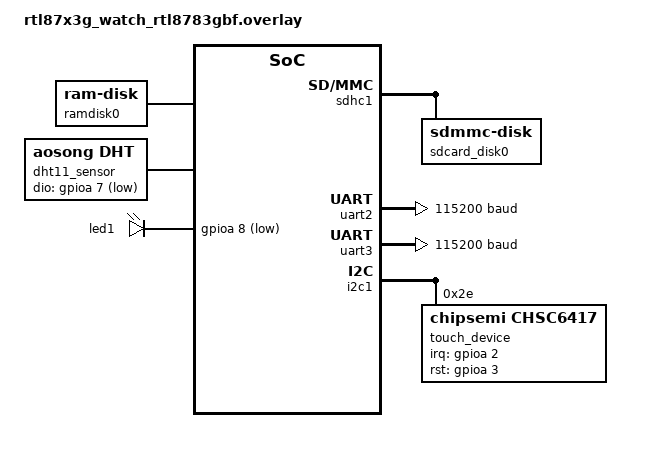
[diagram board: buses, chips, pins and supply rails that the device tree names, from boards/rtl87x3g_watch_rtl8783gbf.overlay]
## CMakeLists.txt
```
# SPDX-License-Identifier: Apache-2.0
cmake_minimum_required(VERSION 3.20.0)

# Keep the same Realtek post-build flow used by the other RTL87X3G apps.
include(${CMAKE_CURRENT_SOURCE_DIR}/../../../../cmake/post_build.cmake)
rtk_post_build()

find_package(Zephyr REQUIRED HINTS $ENV{ZEPHYR_BASE})
project(rustmcuclaw_mcu)

set(APP_TARGET_NAME app)

configure_file(${CMAKE_CURRENT_SOURCE_DIR}/mp.ini ${CMAKE_BINARY_DIR}/../mp.ini COPYONLY)
configure_file(${CMAKE_CURRENT_SOURCE_DIR}/VERSION ${CMAKE_BINARY_DIR}/../VERSION COPYONLY)

zephyr_include_directories(
    include
    ${CMAKE_CURRENT_SOURCE_DIR}/../../../watch/src/module/clk
    ${CMAKE_CURRENT_SOURCE_DIR}/../../../../../modules/display/device/general/lcd/8773G
    ${CMAKE_CURRENT_SOURCE_DIR}/../../../../../modules/display/device/zephyr/touch/8773G
)
target_sources(app PRIVATE
    src/main.c
    src/psram_init.c
    src/ws2812_strip.c
    ${CMAKE_CURRENT_SOURCE_DIR}/../../../watch/src/module/clk/clk_mgr.c
)

target_link_libraries(app PRIVATE realtek_display_driver_library)

find_program(CARGO_EXECUTABLE cargo)
if(NOT CARGO_EXECUTABLE)
    message(FATAL_ERROR "cargo not found in PATH. Install Rust and run: rustup target add thumbv8m.main-none-eabihf")
endif()

set(RUST_WORKSPACE_DIR ${CMAKE_CURRENT_SOURCE_DIR}/..)
set(RUST_CRATE_DIR ${RUST_WORKSPACE_DIR}/crates/rustmcuclaw-mcu)
set(RUST_TARGET thumbv8m.main-none-eabihf)
set(RUST_TARGET_DIR ${CMAKE_CURRENT_BINARY_DIR}/cargo-target)
set(RUST_STATIC_LIB ${RUST_TARGET_DIR}/${RUST_TARGET}/release/librustmcuclaw_mcu.a)

string(TOUPPER "${RUST_TARGET}" RUST_TARGET_ENV)
string(REPLACE "-" "_" RUST_TARGET_ENV "${RUST_TARGET_ENV}")
string(REPLACE "." "_" RUST_TARGET_ENV "${RUST_TARGET_ENV}")

# Re-glob every Rust source under crates/ so a change in any workspace member
# (rustmcuclaw-mcu, rustmcuclaw-common, future crates) re-triggers cargo. The
# previous version only listed rustmcuclaw-mcu/src/lib.rs which silently
# skipped relinking when only common-crate prompts/constants had changed.
file(GLOB_RECURSE RUST_SOURCES CONFIGURE_DEPENDS
    ${RUST_WORKSPACE_DIR}/crates/*.rs
    ${RUST_WORKSPACE_DIR}/crates/*/Cargo.toml
)

add_custom_command(
    OUTPUT ${RUST_STATIC_LIB}
    COMMAND ${CMAKE_COMMAND} -E env
            CARGO_TARGET_DIR=${RUST_TARGET_DIR}
            CARGO_TARGET_${RUST_TARGET_ENV}_LINKER=${CMAKE_C_COMPILER}
            RUSTFLAGS=-Cpanic=abort\ -Cforce-unwind-tables=no
            ${CARGO_EXECUTABLE}
            build
            --manifest-path ${RUST_CRATE_DIR}/Cargo.toml
            --target ${RUST_TARGET}
            --release
    WORKING_DIRECTORY ${RUST_WORKSPACE_DIR}
    DEPENDS
        ${RUST_WORKSPACE_DIR}/Cargo.toml
        ${RUST_SOURCES}
    COMMENT "Building RustMcuClaw MCU Rust static library"
    VERBATIM
)

add_custom_target(rustmcuclaw_mcu_staticlib ALL DEPENDS ${RUST_STATIC_LIB})
add_dependencies(app rustmcuclaw_mcu_staticlib)
target_link_libraries(app PRIVATE ${RUST_STATIC_LIB})

zephyr_compile_options(
    -Wno-unused-parameter
)

# ADMA2 descriptors and DMA data buffers must be in DMA-accessible SRAM.
# The default BSS placement is DTCM (0x2000B800) which is not reachable by
# the SDIO DMA engine.  Force both translation units into SRAM2.
zephyr_code_relocate(FILES
    ${ZEPHYR_BASE}/drivers/sdhc/sdhc_rtl87x3g.c
    LOCATION SRAM)
zephyr_code_relocate(FILES
    ${ZEPHYR_BASE}/drivers/disk/sdmmc_subsys.c
    LOCATION SRAM)
```

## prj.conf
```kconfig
# RustMcuClaw MCU: serial CLI + PSRAM FATFS JSON/TOML/Markdown files.
CONFIG_MAIN_STACK_SIZE=8192
CONFIG_SYSTEM_WORKQUEUE_STACK_SIZE=4096

CONFIG_MULTITHREADING=y
CONFIG_POLL=y

CONFIG_SERIAL=y
CONFIG_UART_INTERRUPT_DRIVEN=y

CONFIG_DISPLAY=y
CONFIG_REALTEK_DISPLAY=y
CONFIG_REALTEK_DISPLAY_ENABLE_LCDC=y
CONFIG_REALTEK_DISPLAY_ENABLE_PPE=y
CONFIG_REALTEK_DISPLAY_ENABLE_IDU=n
CONFIG_REALTEK_LCD_SH8601Z_410_502_QSPI=y
CONFIG_GPIO=y
CONFIG_I2C=y
CONFIG_DMA=y

# Touch screen (CHSC6417 on I2C1, interrupt-driven via GPIO)
CONFIG_REALTEK_TOUCH_CHSC6417_ZEPHYR=y

CONFIG_FILE_SYSTEM=y
CONFIG_FAT_FILESYSTEM_ELM=y
CONFIG_DISK_ACCESS=y
CONFIG_DISK_DRIVER_RAM=y
CONFIG_SDHC=y
CONFIG_DISK_DRIVER_SDMMC=y
CONFIG_SDHC_LOG_LEVEL_DBG=y
CONFIG_SD_LOG_LEVEL_DBG=y
CONFIG_FS_FATFS_MOUNT_MKFS=y
CONFIG_FS_FATFS_LFN=y
CONFIG_FS_FATFS_MAX_LFN=64

CONFIG_NEWLIB_LIBC=y
CONFIG_PRINTK=y
CONFIG_LOG=y
CONFIG_LOG_DEFAULT_LEVEL=3

# The cloud transport is provided by the Z2Plus/RTL8710C firmware side.
# Board integration should provide/override claw_mcu_https_post_json() if the
# firmware exposes a different HTTPS primitive.
CONFIG_NET_BUF=y

# DHT11 temperature/humidity sensor (Zephyr official aosong,dht driver)
CONFIG_SENSOR=y
CONFIG_DHT=y
# Lock IRQs while reading the sensor to improve the success rate of 1-wire timing sampling
CONFIG_DHT_LOCK_IRQS=y
```

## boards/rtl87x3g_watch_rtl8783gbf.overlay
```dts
/*
 * RustMcuClaw MCU overlay for RTL8783GBF EVB.
 * Uses UART2 as the serial CLI port so UART3 remains available for watch-style
 * Wi-Fi/Z2Plus transport, and reserves 1 MiB of PSRAM1 for FATFS.
 */

#include <zephyr/dt-bindings/gpio/realtek-rtl87x3g-gpio.h>
#include <dt-bindings/pinctrl/rtl87x3g-pinctrl.h>
#include <dt-bindings/gpio/gpio.h>

&gpioa {
	status = "okay";
};

&sdhc1 {
	status = "okay";

	sdcard_disk0: sdcard_disk0 {
		compatible = "zephyr,sdmmc-disk";
		status = "okay";
	};
};


&uart2 {
	status = "okay";
	current-speed = <115200>;
	parity = "none";
	stop-bits = "1";
	data-bits = <8>;
};

&uart3 {
	pinctrl-0 = <&uart3_default>;
	pinctrl-1 = <&uart3_sleep>;
	pinctrl-names = "default", "sleep";
	status = "okay";
	current-speed = <115200>;
	parity = "none";
	stop-bits = "1";
	data-bits = <8>;
	dmas = <&dma0 2 49 0xa>, <&dma0 3 48 0x10021>;
	dma-names = "rx", "tx";
};

&pinctrl {
	uart3_default: uart3_default {
		group1 {
			psels = <RTL87X3G_PSEL(UART3_TX, UART3_TX_PIN, DIR_OUT, DRV_HIGH, PULL_UP)>,
				<RTL87X3G_PSEL(UART3_RX, UART3_RX_PIN, DIR_IN, DRV_HIGH, PULL_UP)>,
				<RTL87X3G_PSEL(SW_MODE, UART3_MP_TX_PIN, DIR_OUT, DRV_HIGH, PULL_UP)>,
				<RTL87X3G_PSEL(SW_MODE, UART3_MP_RX_PIN, DIR_IN, DRV_HIGH, PULL_UP)>;
		};
	};

	uart3_sleep: uart3_sleep {
		group1 {
			psels = <RTL87X3G_PSEL(SW_MODE, UART3_TX_PIN, DIR_OUT, DRV_HIGH, PULL_UP)>,
				<RTL87X3G_PSEL(SW_MODE, UART3_MP_TX_PIN, DIR_OUT, DRV_HIGH, PULL_UP)>;
		};
		group2 {
			psels = <RTL87X3G_PSEL(SW_MODE, UART3_RX_PIN, DIR_IN, DRV_HIGH, PULL_UP)>,
				<RTL87X3G_PSEL(SW_MODE, UART3_MP_RX_PIN, DIR_IN, DRV_HIGH, PULL_UP)>;
			wakeup-low;
		};
	};
};

/ {
	ramdisk0 {
		compatible = "zephyr,ram-disk";
		status = "okay";
		disk-name = "RAM";
		sector-size = <512>;
		sector-count = <2048>; /* 1 MiB */
		ram-region = <&psram1_for_fs>;
	};

	aliases {
		uart2 = &uart2;
		uart3 = &uart3;
		sdhc0 = &sdhc0;
	};
};

&psram1 {
	psram1_for_fs: memory@24000000 {
		device_type = "psram 1 fs region";
		reg = <0x24000000 0x100000>;
	};
};

/* Touch screen: CHSC6417 on I2C1 bus.
 * P0_2 (gpioa 2) = INT,  P0_3 (gpioa 3) = RST */
&i2c1 {
	touch_device: touch_chsc6417@2e {
		compatible = "chipsemi,chsc6417";
		reg = <0x2E>;
		irq-gpios = <&gpioa 2 GPIO_ACTIVE_HIGH>;
		rst-gpios = <&gpioa 3 GPIO_ACTIVE_HIGH>;
		gesture-release-timeout-ms = <30>;
		status = "okay";
	};
};

/* DHT11 温湿度传感器
 * DATA → P1_0 (gpioa 7)
 * VCC  → 3.3 V
 * GND  → GND
 * 模块板上已内置 10 kΩ 上拉电阻 */
/ {
	dht11_sensor: dht11 {
		compatible = "aosong,dht";
		/* dio-gpios: P1_0 = gpioa 7；GPIO_PULL_UP 启用内部上拉兜底 */
		dio-gpios = <&gpioa 7 (GPIO_ACTIVE_LOW | GPIO_PULL_UP)>;
		/* 不写 dht22 属性 → 驱动认定为 DHT11 */
		status = "okay";
	};

	/* Board-direct LEDs driven by GPIO. The Rust agent exposes them by
	 * label: "led1" = 一号灯 (P1_1, gpioa 8).
	 *
	 * P2_1 is now dedicated to the WS2812B RGB strip, so only led1 remains
	 * as a board-direct GPIO LED.
	 *
	 * Polarity is absorbed by Zephyr's GPIO_ACTIVE_* flags so higher layers
	 * can keep using on=1 / off=0 without caring about the board wiring:
	 *   - led1 (P1_1): cathode tied to GPIO, anode to VCC -> ACTIVE_LOW */
	claw_leds: claw-leds {
		compatible = "gpio-leds";
		led1: led_1 {
			gpios = <&gpioa 8 GPIO_ACTIVE_LOW>;
			label = "led1";
		};
	};

	/* WS2812B addressable RGB LED strip (30 LEDs) on P2_1 (gpioa 16).
	 * Driven by software bit-banging from src/ws2812_strip.c — there is no
	 * DT node for it because we do raw register writes that bypass the
	 * Zephyr GPIO driver during the timing-critical transmission window. */
};
```

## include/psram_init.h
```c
#ifndef PSRAM_INIT_H
#define PSRAM_INIT_H

#ifdef __cplusplus
extern "C" {
#endif

/**
 * Initialize PSRAM hardware (MPU + Winbond OPI) on supported SPIC buses.
 * Call once before accessing PSRAM memory regions.
 */
void psram_init(void);

#ifdef __cplusplus
}
#endif

#endif /* PSRAM_INIT_H */
```

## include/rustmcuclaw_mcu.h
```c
#ifndef RUSTMCUCLAW_MCU_H
#define RUSTMCUCLAW_MCU_H

#include <stddef.h>
#include <stdint.h>
#include <stdbool.h>

#ifdef __cplusplus
extern "C" {
#endif

int rustmcuclaw_mcu_init(uint8_t *heap_ptr,
                         size_t heap_len,
                         const char *data_dir,
                         uint8_t *out,
                         size_t out_cap);

int rustmcuclaw_mcu_handle_line(const char *line,
                                uint8_t *out,
                                size_t out_cap);

int rustmcuclaw_mcu_poll(uint8_t *out, size_t out_cap);

int rustmcuclaw_mcu_persist_session_summary(uint8_t *out, size_t out_cap);

/* Query the persisted Feishu channel credentials so the C bootstrap can
 * auto-issue `ATFL=<app_id>,<app_secret>` to the Z2Plus AT firmware right
 * after `rustmcuclaw_mcu_init`. Returns 1 when the channel is enabled and
 * both credentials are present, 0 when disabled or incomplete, -1 when the
 * Rust engine has not been initialised yet. The output buffers receive
 * null-terminated UTF-8 strings. Any of the buffer pointers may be NULL if
 * the caller does not care about that field. */
int rustmcuclaw_mcu_get_feishu_creds(uint8_t *app_id_out,
                                     size_t app_id_cap,
                                     uint8_t *app_secret_out,
                                     size_t app_secret_cap,
                                     uint8_t *endpoint_out,
                                     size_t endpoint_cap);

/* Consume one Feishu event block emitted by the Z2Plus AT URC stream
 * `[FSEV-BEGIN]` ... `[FSEV-END]` (see z2_feishu_ws.c::emit_event_urc).
 * On a text `im.message.receive_v1` event the Rust side runs the same LLM
 * pipeline as the serial CLI and replies via /open-apis/im/v1/messages
 * (which itself goes through `claw_mcu_https_post_json`). `out`/`out_cap`
 * receive a short human-readable status string for the serial log. */
int rustmcuclaw_mcu_handle_feishu_event(const uint8_t *block,
                                        size_t block_len,
                                        uint8_t *out,
                                        size_t out_cap);

/* Heap monitoring: return bytes used / total size of the PSRAM bump allocator.
 * Used to detect heap exhaustion and trigger a proactive reinit before OOM. */
size_t rustmcuclaw_mcu_heap_used(void);
size_t rustmcuclaw_mcu_heap_size(void);

/* Platform callbacks consumed by the Rust static library. */
int64_t claw_mcu_fs_read(const char *path, uint8_t *out, size_t out_cap);
int claw_mcu_fs_write(const char *path, const uint8_t *data, size_t data_len, bool append);
int64_t claw_mcu_fs_list(const char *path, uint8_t *out, size_t out_cap);
int claw_mcu_read_temp_humidity(int32_t *temp_milli_c, int32_t *humidity_milli_pct);

/* Board-direct LED control (driven by GPIO via the `gpio-leds` overlay
 * node `claw_leds`). The firmware owns a fixed table of named LEDs and
 * exposes them to the Rust agent by integer index.
 *
 *   claw_mcu_led_count() -> number of LEDs known to the firmware
 *   claw_mcu_led_name(idx, out, out_cap) -> copy null-terminated label
 *       (e.g. "led1") into `out`. Returns 0 on success, negative on bad
 *       index or insufficient buffer.
 *   claw_mcu_led_set(idx, on) -> 1 = on, 0 = off. Returns 0 on success.
 *   claw_mcu_led_get(idx)  -> 1 if on, 0 if off, negative on error.
 *
 * Index-based addressing keeps the LLM <-> hardware boundary clean: the
 * agent enumerates names via led_list at runtime instead of hard-coding
 * pin numbers in prompts. */
int claw_mcu_led_count(void);
int claw_mcu_led_name(int idx, uint8_t *out, size_t out_cap);
int claw_mcu_led_set(int idx, int on);
int claw_mcu_led_get(int idx);

/* Yield-aware sleep used by the Rust agent for short, non-realtime
 * intervals (e.g. LED blink pacing). Capped on the C side so a buggy LLM
 * call cannot stall the poll loop indefinitely. */
void claw_mcu_sleep_ms(uint32_t ms);

int64_t claw_mcu_https_post_json(const char *endpoint,
                                 const char *api_key,
                                 const uint8_t *body,
                                 size_t body_len,
                                 uint8_t *out,
                                 size_t out_cap);
uint64_t claw_mcu_now_secs(void);
int claw_mcu_display_width(void);
int claw_mcu_display_height(void);
int claw_mcu_display_fill_rgb565(uint16_t color);
int claw_mcu_display_present_rgb565(const uint16_t *pixels,
                                    uint16_t width,
                                    uint16_t height);

/* Draw null-terminated UTF-8 text into a caller-provided RGB565 framebuffer.
 * Uses the GNU Unifont bitmap loaded from SD card into PSRAM when available;
 * falls back to the built-in font8x8 for ASCII-only characters otherwise.
 *
 *  pixels  - pointer to the RGB565 buffer (width x height u16 words, row-major)
 *  width   - buffer width in pixels
 *  height  - buffer height in pixels
 *  x, y    - top-left text origin
 *  text    - null-terminated UTF-8 string (Chinese / Latin / etc.)
 *  fg      - foreground colour in RGB565
 *  scale   - pixel magnification (1 = natural glyph size, 2 = 2x, ...)
 *
 * Returns the number of glyphs rendered, or a negative value on bad input.
 */
int rustmcuclaw_mcu_draw_text_rgb565(uint16_t *pixels,
                                     uint16_t width,
                                     uint16_t height,
                                     int x,
                                     int y,
                                     const char *text,
                                     uint16_t fg,
                                     uint8_t scale);

/* Look up a Unicode codepoint in the PSRAM-resident GNU Unifont bitmap.
 * Called by the Rust draw function; safe to call before unifont is loaded
 * (returns 0 in that case).
 *
 *  codepoint - Unicode scalar value (BMP only, U+0000 ... U+FFFF)
 *  out_rows  - caller-provided array of 16 uint16_t values; on success each
 *              element holds one row of the glyph bitmap with the leftmost
 *              pixel in bit 15 (MSB-first).
 *
 * Returns glyph width in pixels (8 for halfwidth, 16 for fullwidth) on
 * success, or 0 if the codepoint is not found / unifont not yet loaded.
 */
int claw_mcu_unifont_get_glyph(uint32_t codepoint, uint16_t *out_rows);

#ifdef __cplusplus
}
#endif

#endif /* RUSTMCUCLAW_MCU_H */
```

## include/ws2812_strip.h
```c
/*
 * WS2812B RGB LED strip driver (bit-banged) for RTL87X3G.
 *
 * Hardware:
 *   - 30-LED WS2812B strip with data-in tied to P2_1 (GPIOA bit 16).
 *   - 5 V supply, common ground with the MCU board.
 *
 * Implementation notes:
 *   - Zephyr's stock `ws2812_gpio` driver is hard-coded for nRF51 inline
 *     assembly and the `ws2812_spi` driver would require routing one of
 *     the RTL87X3G SPI peripherals to P2_1 with a 6.4 MHz MOSI clock.
 *     A direct GPIO bit-bang using the Cortex-M55's DWT cycle counter is
 *     simpler and keeps the rest of the board wiring untouched.
 *   - Transmission runs with IRQs locked.  Worst case for 30 LEDs is
 *     30 * 24 bits * 1.25 us = 900 us, well below the system tick.
 */

#ifndef RUSTMCUCLAW_WS2812_STRIP_H_
#define RUSTMCUCLAW_WS2812_STRIP_H_

#include <stdint.h>

#ifdef __cplusplus
extern "C" {
#endif

#ifndef WS2812_STRIP_LEN
#define WS2812_STRIP_LEN 30
#endif

/**
 * @brief Configure P2_1 as a push-pull GPIO output and cache CPU-cycle
 *        timing constants for the bit-bang loop.
 *
 * Idempotent.  Returns 0 on success or a negative errno.
 */
int ws2812_strip_init(void);

/**
 * @brief Set a single pixel in the back buffer.
 *
 * The change is not visible until @ref ws2812_strip_show is called.
 */
int ws2812_strip_set_pixel(uint32_t idx, uint8_t r, uint8_t g, uint8_t b);

/** Fill every pixel in the back buffer with the same colour. */
void ws2812_strip_fill(uint8_t r, uint8_t g, uint8_t b);

/** Shorthand for `ws2812_strip_fill(0, 0, 0); ws2812_strip_show()`. */
int ws2812_strip_clear(void);

/**
 * @brief Push the current back buffer to the strip.
 *
 * Locks IRQs for the duration of the transmission (~1 ms for 30 LEDs)
 * and then waits the WS2812B latch time before returning.
 */
int ws2812_strip_show(void);

/**
 * @brief Boot-time self-test: red/green/blue/rainbow sweep, then clear.
 *
 * Intended to be called once from `main()` so the operator can confirm
 * the strip is wired and powered correctly.
 */
int ws2812_strip_boot_test(void);

/* ------------------------------------------------------------------ */
/* Non-blocking effect engine                                          */
/* ------------------------------------------------------------------ */
/*
 * All `ws2812_strip_effect_*` calls return immediately.  Rendering is
 * driven from the system workqueue via a `k_work_delayable`, so the
 * caller (main thread, CLI, Rust agent, ...) is never blocked.
 *
 * Calling any effect function cancels and replaces the currently
 * running effect; `ws2812_strip_effect_stop()` also clears the strip.
 *
 * `duration_ms = 0` means "run forever, until stopped or replaced".
 * Any positive value clears the strip when the time elapses.
 */

/** Cancel the running effect and turn every LED off. */
int ws2812_strip_effect_stop(void);

/**
 * @brief Solid colour for `duration_ms` (0 = until stopped).
 */
int ws2812_strip_effect_solid(uint8_t r, uint8_t g, uint8_t b,
                              uint32_t duration_ms);

/**
 * @brief Toggle the whole strip between (r,g,b) and off every
 *        `period_ms / 2` ms.  `duration_ms = 0` = forever.
 */
int ws2812_strip_effect_blink(uint8_t r, uint8_t g, uint8_t b,
                              uint32_t period_ms, uint32_t duration_ms);

/**
 * @brief Animated rainbow sweep.
 *
 * @param value         HSV value/brightness 0..255.  60 is a safe default
 *                      that does not stress the 5 V rail.
 * @param frame_ms      Time between frames (lower = faster).  Min 10 ms.
 * @param duration_ms   Total runtime; 0 = forever.
 */
int ws2812_strip_effect_rainbow(uint8_t value, uint32_t frame_ms,
                                uint32_t duration_ms);

/**
 * @brief Show a caller-provided frame (per-LED colours).
 *
 * @param rgb       Pointer to an `WS2812_STRIP_LEN x 3` byte array in
 *                  R,G,B order.  The buffer is copied internally, so
 *                  the caller can free / reuse it after returning.
 * @param length    Number of pixels in `rgb`.  Must equal
 *                  WS2812_STRIP_LEN (extra LEDs would remain dark).
 * @param duration_ms  How long to display before clearing; 0 = forever.
 */
int ws2812_strip_effect_pixels(const uint8_t *rgb, uint32_t length,
                               uint32_t duration_ms);
// /* WS2812B RGB strip self-test on P2_1 - runs before the heavy PSRAM /
//  * display / Rust engine init so the operator gets immediate visual
//  * confirmation that the board booted and the strip is wired right. */
// ret = ws2812_strip_boot_test();
// if (ret < 0) {
//     LOG_WRN("WS2812B boot test failed: %d", ret);
// }

// /* ----------------------------------------------------------------
//  * Non-blocking effect engine verification.
//  * Each effect is started immediately (returns at once) and the
//  * duration parameter auto-clears the strip when time elapses.
//  * We sleep between launches only so the effects are humanly
//  * distinguishable; main execution continues during each sleep.
//  * ---------------------------------------------------------------- */
// LOG_INF("WS2812 effect test: solid red 1 s");
// ws2812_strip_effect_solid(200, 0, 0, 1000);
// k_msleep(1200);

// LOG_INF("WS2812 effect test: solid green 1 s");
// ws2812_strip_effect_solid(0, 200, 0, 1000);
// k_msleep(1200);

// LOG_INF("WS2812 effect test: blink blue 2 s (400 ms period)");
// ws2812_strip_effect_blink(0, 60, 200, 400, 2000);
// k_msleep(2200);

// /* Custom per-pixel frame: first 10 red, next 10 green, last 10 blue */
// LOG_INF("WS2812 effect test: custom pixels 1.5 s");
// {
//     static uint8_t frame[WS2812_STRIP_LEN * 3];
//     for (int i = 0; i < 10; i++) {
//         frame[i*3+0]=180; frame[i*3+1]=0;   frame[i*3+2]=0;
//     }
//     for (int i = 10; i < 20; i++) {
//         frame[i*3+0]=0;   frame[i*3+1]=180; frame[i*3+2]=0;
//     }
//     for (int i = 20; i < 30; i++) {
//         frame[i*3+0]=0;   frame[i*3+1]=0;   frame[i*3+2]=180;
//     }
//     ws2812_strip_effect_pixels(frame, WS2812_STRIP_LEN, 1500);
// }
// k_msleep(1700);

// /* Rainbow runs continuously (duration_ms = 0) from here on; the
//  * Rust agent or CLI can replace it with another effect at any time. */
// LOG_INF("WS2812 effect test: rainbow (continuous)");
// ws2812_strip_effect_rainbow(100, 20, 0);
#ifdef __cplusplus
}
#endif

#endif /* RUSTMCUCLAW_WS2812_STRIP_H_ */
```

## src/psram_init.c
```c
/**
 * @file psram_init.c
 * @brief PSRAM initialization for RustMcuClaw MCU app.
 *
 * Initialises Winbond OPI PSRAM on SPIC1 (psram0) and SPIC3 (psram1),
 * and configures MPU regions so that the CPU can read/write PSRAM.
 *
 * Ported from the rust_ffi_demo/watch lower-init flow.
 */

#include <zephyr/devicetree.h>

#include <stdint.h>

#include <trace.h>

#include "address_map.h"
#include "clk_mgr.h"
#include "dma_channel.h"
#include "fmc_api.h"
#include "fmc_api_ext.h"
#include "mpu.h"
#include "platform_utils.h"
#include "psram_init.h"
#include "section.h"

#include <rtl876x_rcc.h>

#define ZEPHYR_DMA_CHANNEL_MASK (BIT10 | BIT11 | BIT12 | BIT13 | BIT14 | BIT15)

static T_CLK_USER_HANDLE clk_user_gui;

static void psram_mpu_config(void)
{
    /* PSRAM0 via SPIC1 - 4 MB, write-through (0xAA) */
    uint32_t rbar = SPIC1_MEM_BASE | (1 << 1); /* SH:0, AP:1, XN:0 */
    uint32_t limit = SPIC1_MEM_BASE + 0x400000 - 1;
    mpu_set_region(rbar, limit, 2, 0xAA, true);

#if DT_NODE_HAS_STATUS(DT_NODELABEL(psram1), okay)
    /* PSRAM1 via SPIC3 - size from DTS, write-through (0xAA) */
    rbar = SPIC3_MEM_BASE | (1 << 1);
    limit = SPIC3_MEM_BASE + DT_REG_SIZE(DT_NODELABEL(psram1_for_mcu)) - 1;
    mpu_set_region(rbar, limit, 4, 0xAA, true);
#endif
}

static void app_io_resource_cfg(void)
{
    /* Mark DMA channels already allocated to Zephyr and DSP */
    uint16_t dma_channel_masked = GDMA_channel_get_active_mask();
    dma_channel_cfg(dma_channel_masked | ZEPHYR_DMA_CHANNEL_MASK);

    /* HW timers available for hw_timer_create */
    extern void hw_timer_channel_cfg(uint16_t hw_timer_mask);
    hw_timer_channel_cfg(BIT2 | BIT3);
}

void psram_init(void)
{
    psram_mpu_config();

    /* ---- Flash high-speed 4-bit mode ---- */
    if (fmc_flash_try_high_speed_mode(FMC_SPIC_ID_0, FMC_FLASH_NOR_4_BIT_MODE))
    {
        DBG_DIRECT("flash switch 4bit success");
    }
    else
    {
        DBG_DIRECT("flash switch 4bit fail");
    }

#if DT_NODE_HAS_STATUS(DT_NODELABEL(psram0), okay)
    if (fmc_psram_winbond_opi_init(FMC_SPIC_ID_1))
    {
        DBG_DIRECT("psram0 (SPIC1) init success!");
    }
    else
    {
        DBG_DIRECT("psram0 (SPIC1) init FAIL!");
    }
#endif

#if DT_NODE_HAS_STATUS(DT_NODELABEL(psram1), okay)
    if (fmc_psram_winbond_opi_init(FMC_SPIC_ID_3))
    {
        DBG_DIRECT("psram1 (SPIC3) init success!");
    }
    else
    {
        DBG_DIRECT("psram1 (SPIC3) init FAIL!");
    }
#endif

    /* ---- Clock manager init + high performance ---- */
    clk_mgr_init();
    app_io_resource_cfg();

    U_CLK_BITMAP bitmap;
    bitmap.data = BIT(T_CLK_TYPE_CPU) | BIT(T_CLK_TYPE_SPIC0) | BIT(T_CLK_TYPE_SPIC1);
    clk_user_gui = clk_mgr_user_create("gui", bitmap);
    clk_mgr_set_high_performance(clk_user_gui);
}
```

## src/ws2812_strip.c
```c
/*
 * WS2812B RGB LED strip bit-bang driver for RTL87X3G (Cortex-M55).
 *
 * Pin: P2_1 = GPIOA bit 16.  See ws2812_strip.h for the design rationale.
 */

#include "ws2812_strip.h"

#include <zephyr/kernel.h>
#include <zephyr/device.h>
#include <zephyr/devicetree.h>
#include <zephyr/drivers/gpio.h>
#include <zephyr/logging/log.h>
#include <zephyr/sys/util.h>
#include <errno.h>
#include <string.h>

#include "pm.h" /* pm_cpu_freq_get() */

LOG_MODULE_REGISTER(ws2812_strip, LOG_LEVEL_INF);

/* ------------------------------------------------------------------ */
/* Pin / register addresses                                           */
/* ------------------------------------------------------------------ */

/* GPIOA base from realtek,rtl87x3g.dtsi (`gpio@40001000`).  The data
 * register is at offset 0x00 - see modules/hal/realtek/rtl87x3g/drivers/
 * inc/rtl876x_gpio_def.h.  Writing GPIO_DR drives all 32 GPIOA pins; we
 * read-modify a cached value so neighbouring pins are not disturbed. */
#define GPIOA_DR_ADDR     0x40001000UL
#define GPIOA_DR          (*(volatile uint32_t *)GPIOA_DR_ADDR)

#define WS2812_GPIO_BIT   16U                 /* P2_1 -> GPIOA16 */
#define WS2812_PIN_MASK   (1U << WS2812_GPIO_BIT)

/* Zephyr GPIO device - used at init time only.  Once the pad is in GPIO
 * SW mode we hit GPIOA_DR directly to make the timing loop predictable. */
#define WS2812_GPIO_DEV   DEVICE_DT_GET(DT_NODELABEL(gpioa))

/* ------------------------------------------------------------------ */
/* WS2812B timing (typ., ±150 ns tolerance per worldsemi datasheet)   */
/* ------------------------------------------------------------------ */

#define WS2812_T0H_NS     400U
#define WS2812_T1H_NS     800U
#define WS2812_BIT_NS     1250U
#define WS2812_RESET_US   80U

/* ------------------------------------------------------------------ */
/* DWT cycle counter (Cortex-M55)                                      */
/* ------------------------------------------------------------------ */

#define DEMCR_ADDR        0xE000EDFCUL
#define DWT_CTRL_ADDR     0xE0001000UL
#define DWT_CYCCNT_ADDR   0xE0001004UL
#define DEMCR             (*(volatile uint32_t *)DEMCR_ADDR)
#define DWT_CTRL          (*(volatile uint32_t *)DWT_CTRL_ADDR)
#define DWT_CYCCNT        (*(volatile uint32_t *)DWT_CYCCNT_ADDR)

#define DEMCR_TRCENA      (1U << 24)
#define DWT_CTRL_CYCCNTENA (1U << 0)

static inline void dwt_enable(void)
{
    DEMCR |= DEMCR_TRCENA;
    DWT_CTRL |= DWT_CTRL_CYCCNTENA;
}

/* ------------------------------------------------------------------ */
/* Driver state                                                        */
/* ------------------------------------------------------------------ */

static bool     s_inited;
static uint32_t s_cyc_t0h;       /* high pulse cycles for a 0-bit */
static uint32_t s_cyc_t1h;       /* high pulse cycles for a 1-bit */
static uint32_t s_cyc_bit;       /* total cycles for a single bit */

/* WS2812B accepts colours in GRB order, MSB first. */
static uint8_t  s_pixels[WS2812_STRIP_LEN][3];

/* ------------------------------------------------------------------ */
/* Init                                                                */
/* ------------------------------------------------------------------ */

int ws2812_strip_init(void)
{
    if (s_inited)
    {
        return 0;
    }

    const struct device *gpio_dev = WS2812_GPIO_DEV;
    if (!device_is_ready(gpio_dev))
    {
        LOG_ERR("GPIOA not ready");
        return -ENODEV;
    }

    /* Drive P2_1 low so the strip sees a defined idle level before we
     * start clocking bits out. */
    int ret = gpio_pin_configure(gpio_dev, WS2812_GPIO_BIT,
                                 GPIO_OUTPUT_LOW);
    if (ret < 0)
    {
        LOG_ERR("gpio_pin_configure(P2_1) failed: %d", ret);
        return ret;
    }

    dwt_enable();

    uint32_t cpu_mhz = pm_cpu_freq_get();
    if (cpu_mhz == 0)
    {
        cpu_mhz = 125U; /* sensible default; matches Realtek's stock PM */
    }
    /* cycles = ns * MHz / 1000 - use 64-bit math to avoid wrap-around. */
    s_cyc_t0h = (uint32_t)(((uint64_t)WS2812_T0H_NS * cpu_mhz) / 1000U);
    s_cyc_t1h = (uint32_t)(((uint64_t)WS2812_T1H_NS * cpu_mhz) / 1000U);
    s_cyc_bit = (uint32_t)(((uint64_t)WS2812_BIT_NS * cpu_mhz) / 1000U);

    memset(s_pixels, 0, sizeof(s_pixels));
    s_inited = true;

    LOG_INF("WS2812B strip ready: %u LEDs on P2_1, cpu=%u MHz "
            "(t0h=%u t1h=%u bit=%u cyc)",
            (unsigned)WS2812_STRIP_LEN, (unsigned)cpu_mhz,
            (unsigned)s_cyc_t0h, (unsigned)s_cyc_t1h,
            (unsigned)s_cyc_bit);

    return 0;
}

/* ------------------------------------------------------------------ */
/* Back-buffer helpers                                                 */
/* ------------------------------------------------------------------ */

int ws2812_strip_set_pixel(uint32_t idx, uint8_t r, uint8_t g, uint8_t b)
{
    if (idx >= WS2812_STRIP_LEN)
    {
        return -EINVAL;
    }
    s_pixels[idx][0] = g;
    s_pixels[idx][1] = r;
    s_pixels[idx][2] = b;
    return 0;
}

void ws2812_strip_fill(uint8_t r, uint8_t g, uint8_t b)
{
    for (uint32_t i = 0; i < WS2812_STRIP_LEN; i++)
    {
        s_pixels[i][0] = g;
        s_pixels[i][1] = r;
        s_pixels[i][2] = b;
    }
}

int ws2812_strip_clear(void)
{
    ws2812_strip_fill(0, 0, 0);
    return ws2812_strip_show();
}

/* ------------------------------------------------------------------ */
/* Transmission                                                        */
/* ------------------------------------------------------------------ */

/* Push one byte MSB-first onto the wire.  Must be called with IRQs off
 * and the DWT cycle counter enabled. */
static __attribute__((always_inline)) inline
void ws2812_send_byte(uint8_t byte,
                      uint32_t dr_high,
                      uint32_t dr_low,
                      uint32_t cyc_t0h,
                      uint32_t cyc_t1h,
                      uint32_t cyc_bit)
{
    for (uint32_t mask = 0x80U; mask != 0U; mask >>= 1)
    {
        uint32_t start = DWT_CYCCNT;
        uint32_t high_cycles = (byte & mask) ? cyc_t1h : cyc_t0h;

        GPIOA_DR = dr_high;
        while ((DWT_CYCCNT - start) < high_cycles)
        {
            /* spin */
        }
        GPIOA_DR = dr_low;
        while ((DWT_CYCCNT - start) < cyc_bit)
        {
            /* spin */
        }
    }
}

int ws2812_strip_show(void)
{
    if (!s_inited)
    {
        int ret = ws2812_strip_init();
        if (ret < 0)
        {
            return ret;
        }
    }

    const uint8_t *buf = (const uint8_t *)s_pixels;
    const size_t   len = sizeof(s_pixels);

    /* Snapshot the current GPIOA_DR with our bit forced high / low so
     * the timing loop is just two stores; neighbouring pins are
     * preserved (IRQs are locked, so nothing else touches the
     * register). */
    unsigned int key = irq_lock();

    uint32_t dr_now  = GPIOA_DR;
    uint32_t dr_high = dr_now | WS2812_PIN_MASK;
    uint32_t dr_low  = dr_now & ~WS2812_PIN_MASK;

    /* Ensure the line starts low for the reset gap. */
    GPIOA_DR = dr_low;

    const uint32_t cyc_t0h = s_cyc_t0h;
    const uint32_t cyc_t1h = s_cyc_t1h;
    const uint32_t cyc_bit = s_cyc_bit;

    for (size_t i = 0; i < len; i++)
    {
        ws2812_send_byte(buf[i], dr_high, dr_low,
                         cyc_t0h, cyc_t1h, cyc_bit);
    }

    /* Guarantee the line is idle low before we re-open IRQs. */
    GPIOA_DR = dr_low;

    irq_unlock(key);

    /* Latch: WS2812B requires at least 50 us of low to commit the frame. */
    k_busy_wait(WS2812_RESET_US);

    return 0;
}

/* ------------------------------------------------------------------ */
/* HSV -> RGB (used by both the boot test and the rainbow effect)      */
/* ------------------------------------------------------------------ */

static void hsv_to_rgb(uint16_t h, uint8_t s, uint8_t v,
                       uint8_t *r, uint8_t *g, uint8_t *b)
{
    uint8_t  region = (uint8_t)((h / 60U) % 6U);
    uint16_t f      = (uint16_t)(h - (uint16_t)(region * 60U)); /* 0..59 */
    uint8_t  p = (uint8_t)((uint16_t)v * (uint16_t)(255U - s) / 255U);
    uint8_t  q = (uint8_t)((uint32_t)v *
                           (255U - (uint32_t)s * f / 60U) / 255U);
    uint8_t  t = (uint8_t)((uint32_t)v *
                           (255U - (uint32_t)s * (60U - f) / 60U) / 255U);

    switch (region)
    {
    case 0: *r = v; *g = t; *b = p; break;
    case 1: *r = q; *g = v; *b = p; break;
    case 2: *r = p; *g = v; *b = t; break;
    case 3: *r = p; *g = q; *b = v; break;
    case 4: *r = t; *g = p; *b = v; break;
    default: *r = v; *g = p; *b = q; break;
    }
}

int ws2812_strip_boot_test(void)
{
    int ret = ws2812_strip_init();
    if (ret < 0)
    {
        return ret;
    }

    LOG_INF("WS2812B boot test: solid colour sweep");

    /* Solid red / green / blue at modest brightness (~25%) so the
     * 5 V rail does not droop while the firmware is still booting. */
    static const uint8_t colours[][3] =
    {
        {64, 0, 0},
        {0, 64, 0},
        {0, 0, 64},
    };
    for (size_t i = 0; i < ARRAY_SIZE(colours); i++)
    {
        ws2812_strip_fill(colours[i][0], colours[i][1], colours[i][2]);
        ws2812_strip_show();
        k_msleep(300);
    }

    LOG_INF("WS2812B boot test: rainbow sweep");
    for (uint8_t step = 0; step < 30U; step++)
    {
        for (uint32_t i = 0; i < WS2812_STRIP_LEN; i++)
        {
            uint16_t hue = (uint16_t)(((i * 360U) / WS2812_STRIP_LEN
                                       + (uint32_t)step * 12U) % 360U);
            uint8_t r, g, b;
            hsv_to_rgb(hue, 255, 48, &r, &g, &b);
            ws2812_strip_set_pixel(i, r, g, b);
        }
        ws2812_strip_show();
        k_msleep(40);
    }

    /* Leave the strip off after the test so it does not draw current
     * during normal operation. */
    return ws2812_strip_clear();
}

/* ------------------------------------------------------------------ */
/* Non-blocking effect engine                                          */
/* ------------------------------------------------------------------ */
/*
 * A single `k_work_delayable` re-schedules itself on the system
 * workqueue.  State is guarded by a mutex because callers can come from
 * the CLI thread, the Rust LLM thread, etc.  Re-entering an effect call
 * cancels the previous one and replaces the parameters atomically.
 */

typedef enum
{
    WS2812_FX_NONE = 0,
    WS2812_FX_SOLID,
    WS2812_FX_BLINK,
    WS2812_FX_RAINBOW,
    WS2812_FX_PIXELS,
} ws2812_fx_kind_t;

static struct k_mutex          s_fx_lock;
static struct k_work_delayable s_fx_work;
static bool                    s_fx_inited;

static ws2812_fx_kind_t s_fx_kind;
static uint8_t          s_fx_r, s_fx_g, s_fx_b;
static uint8_t          s_fx_value;          /* HSV value for rainbow */
static uint32_t         s_fx_frame_ms;
static int64_t          s_fx_end_uptime;     /* -1 = forever */
static uint32_t         s_fx_token;          /* bumped on every restart */
static uint32_t         s_fx_frame_idx;
static uint8_t          s_fx_pixels[WS2812_STRIP_LEN][3]; /* RGB snapshot */

/* Frame period used by the static effects (solid / pixels) just to
 * re-check the expiry deadline.  Low resolution is fine here. */
#define WS2812_FX_KEEPALIVE_MS 50U

static void ws2812_fx_apply_pixels_locked(void)
{
    for (uint32_t i = 0; i < WS2812_STRIP_LEN; i++)
    {
        ws2812_strip_set_pixel(i,
                               s_fx_pixels[i][0],
                               s_fx_pixels[i][1],
                               s_fx_pixels[i][2]);
    }
}

static void ws2812_fx_work_handler(struct k_work *work)
{
    ARG_UNUSED(work);

    /* Snapshot state under the lock; rendering itself does not need
     * the lock because the back buffer is owned by this work. */
    k_mutex_lock(&s_fx_lock, K_FOREVER);

    ws2812_fx_kind_t kind = s_fx_kind;
    uint32_t token        = s_fx_token;
    int64_t  end_uptime   = s_fx_end_uptime;
    uint8_t  r = s_fx_r, g = s_fx_g, b = s_fx_b;
    uint8_t  value        = s_fx_value;
    uint32_t frame_ms     = s_fx_frame_ms;
    uint32_t frame_idx    = s_fx_frame_idx;

    k_mutex_unlock(&s_fx_lock);

    if (kind == WS2812_FX_NONE)
    {
        return;
    }

    int64_t  now     = k_uptime_get();
    bool     expired = (end_uptime >= 0) && (now >= end_uptime);

    if (expired)
    {
        (void)ws2812_strip_clear();
        k_mutex_lock(&s_fx_lock, K_FOREVER);
        /* Only clear state if we are still the active token - a
         * concurrent restart may already have queued a fresh effect. */
        if (s_fx_token == token)
        {
            s_fx_kind = WS2812_FX_NONE;
        }
        k_mutex_unlock(&s_fx_lock);
        return;
    }

    uint32_t next_delay = frame_ms;

    switch (kind)
    {
    case WS2812_FX_SOLID:
        if (frame_idx == 0U)
        {
            ws2812_strip_fill(r, g, b);
            (void)ws2812_strip_show();
        }
        next_delay = WS2812_FX_KEEPALIVE_MS;
        break;

    case WS2812_FX_PIXELS:
        if (frame_idx == 0U)
        {
            k_mutex_lock(&s_fx_lock, K_FOREVER);
            ws2812_fx_apply_pixels_locked();
            k_mutex_unlock(&s_fx_lock);
            (void)ws2812_strip_show();
        }
        next_delay = WS2812_FX_KEEPALIVE_MS;
        break;

    case WS2812_FX_BLINK:
        if ((frame_idx & 1U) == 0U)
        {
            ws2812_strip_fill(r, g, b);
        }
        else
        {
            ws2812_strip_fill(0, 0, 0);
        }
        (void)ws2812_strip_show();
        break;

    case WS2812_FX_RAINBOW:
        for (uint32_t i = 0; i < WS2812_STRIP_LEN; i++)
        {
            uint16_t hue = (uint16_t)(((i * 360U) / WS2812_STRIP_LEN
                                       + frame_idx * 6U) % 360U);
            uint8_t rr, gg, bb;
            hsv_to_rgb(hue, 255, value, &rr, &gg, &bb);
            ws2812_strip_set_pixel(i, rr, gg, bb);
        }
        (void)ws2812_strip_show();
        break;

    default:
        return;
    }

    /* Bound the next-frame delay by the remaining duration so the
     * strip turns off promptly when the deadline elapses. */
    if (end_uptime >= 0)
    {
        int64_t remain = end_uptime - now;
        if (remain <= 0)
        {
            (void)ws2812_strip_clear();
            k_mutex_lock(&s_fx_lock, K_FOREVER);
            if (s_fx_token == token)
            {
                s_fx_kind = WS2812_FX_NONE;
            }
            k_mutex_unlock(&s_fx_lock);
            return;
        }
        if ((uint32_t)remain < next_delay)
        {
            next_delay = (uint32_t)remain;
        }
    }

    k_mutex_lock(&s_fx_lock, K_FOREVER);
    /* If another caller swapped the effect while we were rendering,
     * abandon this branch - that caller has already queued its own
     * first frame. */
    if (s_fx_token == token && s_fx_kind == kind)
    {
        s_fx_frame_idx = frame_idx + 1U;
        k_work_schedule(&s_fx_work, K_MSEC(next_delay));
    }
    k_mutex_unlock(&s_fx_lock);
}

static int ws2812_fx_ensure_init(void)
{
    if (!s_fx_inited)
    {
        k_mutex_init(&s_fx_lock);
        k_work_init_delayable(&s_fx_work, ws2812_fx_work_handler);
        s_fx_inited = true;
    }
    return ws2812_strip_init();
}

/* Common path: cancel the previous effect, install new state, kick the
 * first frame immediately. */
static int ws2812_fx_restart_locked(ws2812_fx_kind_t kind,
                                    uint32_t frame_ms,
                                    uint32_t duration_ms)
{
    s_fx_kind        = kind;
    s_fx_frame_ms    = frame_ms ? frame_ms : WS2812_FX_KEEPALIVE_MS;
    s_fx_frame_idx   = 0U;
    s_fx_end_uptime  = duration_ms ? (k_uptime_get() + duration_ms) : -1;
    s_fx_token++;
    return 0;
}

int ws2812_strip_effect_stop(void)
{
    int ret = ws2812_fx_ensure_init();
    if (ret < 0)
    {
        return ret;
    }

    k_mutex_lock(&s_fx_lock, K_FOREVER);
    s_fx_kind = WS2812_FX_NONE;
    s_fx_token++;
    k_mutex_unlock(&s_fx_lock);

    /* `cancel_sync` waits for any in-flight handler so the call is
     * race-free w.r.t. the final `strip_clear()` below. */
    (void)k_work_cancel_delayable_sync(&s_fx_work,
    &(struct k_work_sync) {0});
    return ws2812_strip_clear();
}

int ws2812_strip_effect_solid(uint8_t r, uint8_t g, uint8_t b,
                              uint32_t duration_ms)
{
    int ret = ws2812_fx_ensure_init();
    if (ret < 0)
    {
        return ret;
    }

    k_mutex_lock(&s_fx_lock, K_FOREVER);
    s_fx_r = r; s_fx_g = g; s_fx_b = b;
    ws2812_fx_restart_locked(WS2812_FX_SOLID, 0U, duration_ms);
    k_mutex_unlock(&s_fx_lock);

    return k_work_reschedule(&s_fx_work, K_NO_WAIT);
}

int ws2812_strip_effect_blink(uint8_t r, uint8_t g, uint8_t b,
                              uint32_t period_ms, uint32_t duration_ms)
{
    int ret = ws2812_fx_ensure_init();
    if (ret < 0)
    {
        return ret;
    }
    if (period_ms < 20U)
    {
        period_ms = 20U;
    }

    k_mutex_lock(&s_fx_lock, K_FOREVER);
    s_fx_r = r; s_fx_g = g; s_fx_b = b;
    /* The handler toggles on every wake-up, so each half-period needs
     * its own frame. */
    ws2812_fx_restart_locked(WS2812_FX_BLINK, period_ms / 2U, duration_ms);
    k_mutex_unlock(&s_fx_lock);

    return k_work_reschedule(&s_fx_work, K_NO_WAIT);
}

int ws2812_strip_effect_rainbow(uint8_t value, uint32_t frame_ms,
                                uint32_t duration_ms)
{
    int ret = ws2812_fx_ensure_init();
    if (ret < 0)
    {
        return ret;
    }
    if (frame_ms < 10U)
    {
        frame_ms = 10U;
    }

    k_mutex_lock(&s_fx_lock, K_FOREVER);
    s_fx_value = value;
    ws2812_fx_restart_locked(WS2812_FX_RAINBOW, frame_ms, duration_ms);
    k_mutex_unlock(&s_fx_lock);

    return k_work_reschedule(&s_fx_work, K_NO_WAIT);
}

int ws2812_strip_effect_pixels(const uint8_t *rgb, uint32_t length,
                               uint32_t duration_ms)
{
    if (rgb == NULL || length == 0U)
    {
        return -EINVAL;
    }

    int ret = ws2812_fx_ensure_init();
    if (ret < 0)
    {
        return ret;
    }

    uint32_t n = (length < WS2812_STRIP_LEN) ? length : WS2812_STRIP_LEN;

    k_mutex_lock(&s_fx_lock, K_FOREVER);
    memset(s_fx_pixels, 0, sizeof(s_fx_pixels));
    for (uint32_t i = 0; i < n; i++)
    {
        s_fx_pixels[i][0] = rgb[i * 3U + 0U];
        s_fx_pixels[i][1] = rgb[i * 3U + 1U];
        s_fx_pixels[i][2] = rgb[i * 3U + 2U];
    }
    ws2812_fx_restart_locked(WS2812_FX_PIXELS, 0U, duration_ms);
    k_mutex_unlock(&s_fx_lock);

    return k_work_reschedule(&s_fx_work, K_NO_WAIT);
}
```
